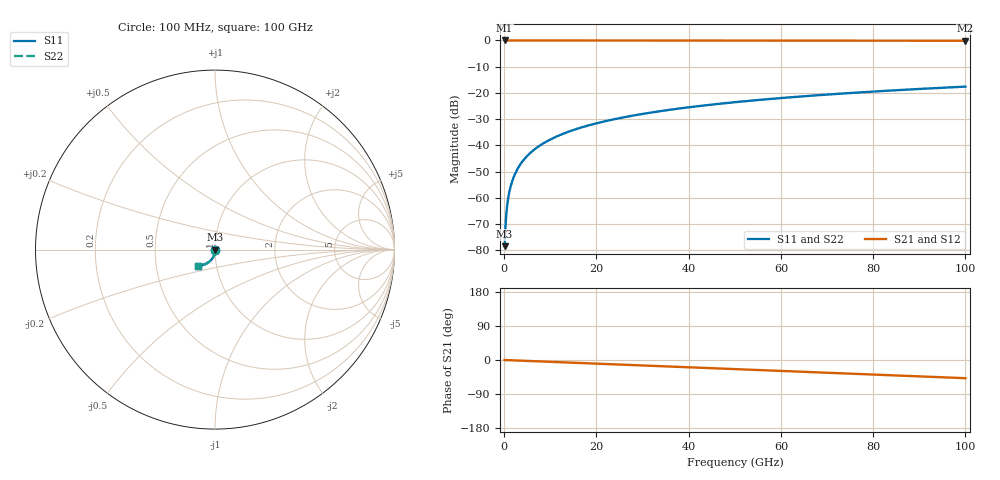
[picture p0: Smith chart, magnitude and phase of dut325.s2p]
! Touchstone file exported from HFSS 2026.1.0
!  File:  C:/ffzhzh/LocalFiles/Ansys_Project_Files/temp_train_TSV_325_1783509582_55944.aedt
!  Generated:  07:20:51 PM Jul  8, 2026
!  Design:  TSV
!  Project:  temp_train_TSV_325_1783509582_55944
! Variables:
!  h_bsmrdl = 2um
!  h_ox = 20um
!  h_rdl = 5um
!  h_sub = 97.66um
!  h_tmrdl = 5um
!  h_tsv = 97.66um
!  h_via = 3um
!  l_bsmrdl = 300um
!  l_sub = 428.68um
!  l_tmrdl = 200um
!  m_sub = 200um
!  pitch = 49.45um
!  r_tsv = 14.34um
!  s_tmrdl = 10um
!  w_bsmrdl = 18um
!  w_sub = 500um
!  w_tmrdl = 12um
!  x_tsv_center1 = 206um
!  x_tsv_center2 = 524um
!  x_tsv_center3 = 736um
!  x_tsv_center4 = 1054um
!  x_tsv_center5 = 1266um
!  x_tsv_center6 = 1584um
# GHz S MA R 50.000000
! Terminal data exported
! Port[1] = TSV1_1_T1
! Port[2] = TSV1_1_T2
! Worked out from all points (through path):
!   1000 points, 100 MHz to 100 GHz, reference 50 ohm
!   highest |S21| = 0.00 dB at 100 MHz (marker M1); lowest = -0.1 dB at 100 GHz (marker M2)
!   group delay of S21, straight-line fit = 1.33 ps
!   lowest |S11| = -78.4 dB at 100 MHz (marker M3), VSWR 1.00, Z = 50 - j0.0082 ohm
!   |S11| at or under -10 dB: start of sweep to end of sweep
!   |S22| runs from -78.4 to -17.6 dB; largest |S21 - S12| = 3.4e-15
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0.1  0.0001208 -42.7  0.9999 -0.1  0.9999 -0.1  0.0001208 -42.7
! Gamma 0 0 0 0
! Port Impedance 50 0 50 0
0.4  0.0004098 -67.2  0.9998 -0.2  0.9998 -0.2  0.0004098 -67.2
0.7  0.0007697 -73.2  0.9998 -0.3  0.9998 -0.3  0.0007697 -73.2
0.8  0.0008939 -74.5  0.9998 -0.4  0.9998 -0.4  0.0008939 -74.5
1.1  0.00127 -77.6  0.9997 -0.5  0.9997 -0.5  0.00127 -77.6
1.4  0.001648 -79.6  0.9997 -0.7  0.9997 -0.7  0.001648 -79.6
1.8  0.002155 -81.3  0.9996 -0.9  0.9996 -0.9  0.002155 -81.3
2.4  0.002922 -83.1  0.9996 -1.2  0.9996 -1.2  0.002922 -83.1
3  0.003698 -84.3  0.9995 -1.5  0.9995 -1.5  0.003698 -84.3
3.8  0.004743 -85.5  0.9995 -1.8  0.9995 -1.8  0.004743 -85.5
4.8  0.006059 -86.7  0.9994 -2.3  0.9994 -2.3  0.006059 -86.7
5.9  0.007514 -87.9  0.9993 -2.9  0.9993 -2.9  0.007514 -87.9
8.7  0.01124 -90.2  0.9991 -4.2  0.9991 -4.2  0.01124 -90.2
12.3  0.01605 -92.5  0.9989 -5.9  0.9989 -5.9  0.01605 -92.5
16.8  0.0221 -95.2  0.9986 -8.1  0.9986 -8.1  0.0221 -95.2
24.1  0.03192 -99.2  0.9981 -11.6  0.9981 -11.6  0.03192 -99.2
33.4  0.04443 -104.0  0.9974 -16.0  0.9974 -16.0  0.04443 -104.0
41.2  0.05491 -108.0  0.9967 -19.8  0.9967 -19.8  0.05491 -108.0
50.1  0.06681 -112.4  0.9958 -24.0  0.9958 -24.0  0.06681 -112.4
66.7  0.08883 -120.7  0.9936 -32.0  0.9936 -32.0  0.08883 -120.6
83.4  0.1107 -128.9  0.991 -40.0  0.991 -40.0  0.1107 -128.9
100  0.1321 -137.1  0.9878 -48.0  0.9878 -48.0  0.1321 -137.1
